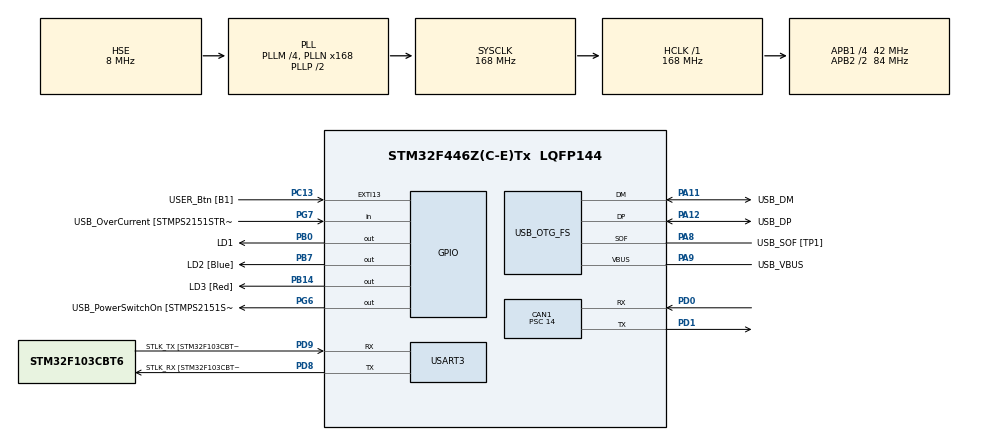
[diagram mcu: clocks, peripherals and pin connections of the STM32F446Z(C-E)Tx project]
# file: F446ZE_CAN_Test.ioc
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CAN1.BS1=CAN_BS1_2TQ
CAN1.BS2=CAN_BS2_3TQ
CAN1.CalculateBaudRate=500000
CAN1.CalculateTimeBit=1999.99
CAN1.CalculateTimeQuantum=333.33333333333337
CAN1.Mode=CAN_MODE_LOOPBACK
CAN1.Prescaler=14
CAN1.SJW=CAN_SJW_2TQ
Mcu.Family=STM32F4
Mcu.Name=STM32F446Z(C-E)Tx
Mcu.Package=LQFP144
NVIC.CAN1_RX0_IRQn=true\:0\:0\:false\:false\:true\:true\:true
NVIC.PriorityGroup=NVIC_PRIORITYGROUP_4
PA10.GPIO_Label=USB_ID
PA10.Signal=USB_OTG_FS_ID
PA11.GPIO_Label=USB_DM
PA11.Mode=Device_Only
PA11.Signal=USB_OTG_FS_DM
PA12.GPIO_Label=USB_DP
PA12.Mode=Device_Only
PA12.Signal=USB_OTG_FS_DP
PA13.GPIO_Label=TMS
PA13.Mode=Trace_Asynchronous_SW
PA13.Signal=SYS_JTMS-SWDIO
PA14.GPIO_Label=TCK
PA14.Mode=Trace_Asynchronous_SW
PA14.Signal=SYS_JTCK-SWCLK
PA8.GPIO_Label=USB_SOF [TP1]
PA8.Mode=Activate_SOF_FS
PA8.Signal=USB_OTG_FS_SOF
PA9.GPIO_Label=USB_VBUS
PA9.Mode=Activate_VBUS
PA9.Signal=USB_OTG_FS_VBUS
PB0.GPIO_Label=LD1
PB0.Signal=GPIO_Output
PB14.GPIO_Label=LD3 [Red]
PB14.Signal=GPIO_Output
PB3.Mode=Trace_Asynchronous_SW
PB3.Signal=SYS_JTDO-SWO
PB7.GPIO_Label=LD2 [Blue]
PB7.Signal=GPIO_Output
PC13.GPIO_Label=USER_Btn [B1]
PC13.Signal=GPXTI13
PC14-OSC32_IN.Mode=LSE-External-Oscillator
PC14-OSC32_IN.Signal=RCC_OSC32_IN
PC15-OSC32_OUT.Mode=LSE-External-Oscillator
PC15-OSC32_OUT.Signal=RCC_OSC32_OUT
PD0.Mode=CAN_Activate
PD0.Signal=CAN1_RX
PD1.Mode=CAN_Activate
PD1.Signal=CAN1_TX
PD8.GPIO_Label=STLK_RX [STM32F103CBT6_PA3]
PD8.Mode=Asynchronous
PD8.Signal=USART3_TX
PD9.GPIO_Label=STLK_TX [STM32F103CBT6_PA2]
PD9.Mode=Asynchronous
PD9.Signal=USART3_RX
PG6.GPIO_Label=USB_PowerSwitchOn [STMPS2151STR_EN]
PG6.Signal=GPIO_Output
PG7.GPIO_Label=USB_OverCurrent [STMPS2151STR_FAULT]
PG7.Signal=GPIO_Input
PH0-OSC_IN.GPIO_Label=MCO [STM32F103CBT6_PA8]
PH0-OSC_IN.Mode=HSE-External-Clock-Source
PH0-OSC_IN.Signal=RCC_OSC_IN
PH1-OSC_OUT.Mode=HSE-External-Clock-Source
PH1-OSC_OUT.Signal=RCC_OSC_OUT
ProjectManager.HeapSize=0x200
ProjectManager.StackSize=0x400
ProjectManager.TargetToolchain=STM32CubeIDE
RCC.48MHZClocksFreq_Value=24000000
RCC.AHBFreq_Value=168000000
RCC.APB1CLKDivider=RCC_HCLK_DIV4
RCC.APB1Freq_Value=42000000
RCC.APB1TimFreq_Value=84000000
RCC.APB2CLKDivider=RCC_HCLK_DIV2
RCC.APB2Freq_Value=84000000
RCC.APB2TimFreq_Value=168000000
RCC.CortexFreq_Value=168000000
RCC.HCLKFreq_Value=168000000
RCC.HSE_VALUE=8000000
RCC.HSI_VALUE=16000000
RCC.PLLM=4
RCC.PLLMUL=RCC_PLL_MUL9
RCC.PLLN=168
RCC.PLLQ=7
RCC.PRESCALERUSB=RCC_USBCLKSOURCE_PLL_DIV1_5
RCC.SYSCLKFreq_VALUE=168000000
RCC.SYSCLKSource=RCC_SYSCLKSOURCE_PLLCLK
RCC.SYSCLKSourceVirtual=RCC_SYSCLKSOURCE_PLLCLK
RCC.USBFreq_Value=48000000
RCC.VCOOutputFreq_Value=336000000
USART3.VirtualMode=VM_ASYNC
USB_OTG_FS.VirtualMode=Device_Only
board=NUCLEO-F446ZE

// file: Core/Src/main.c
/* USER CODE BEGIN Header */

/**
  ******************************************************************************
  * @file           : main.c
  * @brief          : Main program body
  ******************************************************************************
  * @attention
  *
  * <h2><center>&copy; Copyright (c) 2022 STMicroelectronics.
  * All rights reserved.</center></h2>
  *
  * This software component is licensed by ST under BSD 3-Clause license,
  * the "License"; You may not use this file except in compliance with the
  * License. You may obtain a copy of the License at:
  *                        opensource.org/licenses/BSD-3-Clause
  *
  ******************************************************************************
  */
/* USER CODE END Header */
#include "main.h"

/* USER CODE BEGIN Includes */
#include <stdio.h>
/* USER CODE END Includes */

CAN_HandleTypeDef hcan1;

UART_HandleTypeDef huart3;

PCD_HandleTypeDef hpcd_USB_OTG_FS;

/* USER CODE BEGIN PV */

CAN_TxHeaderTypeDef TxHeader; //tx header
CAN_RxHeaderTypeDef RxHeader; //rx header

uint32_t canMailbox; //mailbox holder

uint8_t TxData[8]; // = {0x01, 0x02, 0x03, 0x04, 0x05, 0x06, 0x07, 0x08}; //tx bufer
uint8_t RxData[8]; // = {0,0,0,0,0,0,0,0}; //rx buffer

uint8_t count = 0;

void HAL_CAN_RxFifo0MsgPendingCallback(CAN_HandleTypeDef *hcan)
{
	count++;
//	HAL_CAN_GetRxMessage(hcan, CAN_RX_FIFO0, &RxHeader, RxData);
//	HAL_GPIO_TogglePin(LD1_GPIO_Port, LD1_Pin);
}

/* USER CODE END PV */

void SystemClock_Config(void);
static void MX_GPIO_Init(void);
static void MX_USART3_UART_Init(void);
static void MX_USB_OTG_FS_PCD_Init(void);
static void MX_CAN1_Init(void);
/* USER CODE BEGIN PFP */
void Send_Debug(char *message, size_t len);
/* USER CODE END PFP */

int main(void)
{

  /* MCU Configuration--------------------------------------------------------*/

  /* Reset of all peripherals, Initializes the Flash interface and the Systick. */
  HAL_Init();

  /* Configure the system clock */
  SystemClock_Config();

  /* Initialize all configured peripherals */
  MX_GPIO_Init();
  MX_USART3_UART_Init();
  MX_USB_OTG_FS_PCD_Init();
  MX_CAN1_Init();
  /* USER CODE BEGIN 2 */

  //start can peripheral
  HAL_CAN_Start(&hcan1);

  //inilitlize callback function
  HAL_CAN_ActivateNotification(&hcan1, CAN_IT_RX_FIFO0_MSG_PENDING);

  TxHeader.IDE = CAN_ID_STD; //use standard ID formats
  TxHeader.StdId = 0x103; //ID of the transmitter
  TxHeader.RTR = CAN_RTR_DATA; //data type for transmit frame
  TxHeader.DLC = 1; //message size of two bytes

  TxData[0] = 0xf3;

//  char msgBuf[100];
//  HAL_GPIO_TogglePin(LD1_GPIO_Port, LD1_Pin);
//  sprintf(msgBuf, "CAN1 Attempting to send the following bytes over CAN: %hu, %hu, %hu, %hu, %hu, %hu, %hu, %hu.", TxData[0], TxData[1], TxData[2], TxData[3], TxData[4], TxData[5], TxData[6], TxData[7]);
//  Send_Debug(msgBuf, 85);
//  if (HAL_CAN_AddTxMessage(&hcan1, &TxHeader, TxData, &canMailbox) != HAL_OK)
//  {
//	 Error_Handler ();
//  }
  HAL_CAN_AddTxMessage(&hcan1, &TxHeader, TxData, &canMailbox);

//  sprintf(msgBuf, "CAN1 message sent!");
//  Send_Debug(msgBuf, 18);
  HAL_GPIO_TogglePin(LD1_GPIO_Port, LD1_Pin);
  /* USER CODE END 2 */

  /* Infinite loop */
  /* USER CODE BEGIN WHILE */
  while (1)
  {
	  //state message going to be send
//	  char msgBuf[100];
//	  sprintf(msgBuf, "CAN1 Attempting to send the following bytes over CAN: %hu, %hu, %hu, %hu, %hu, %hu, %hu, %hu.", TxData[0], TxData[1], TxData[2], TxData[3], TxData[4], TxData[5], TxData[6], TxData[7]);
//	  Send_Debug(msgBuf, 85);
//	  //sending can message
//  	  if (HAL_CAN_AddTxMessage(&hcan1, &TxHeader, TxData, &canMailbox) != HAL_OK)
//  	  {
//  	     Error_Handler ();
//  	  }
//  	  sprintf(msgBuf, "CAN1 message sent!");
//  	  Send_Debug(msgBuf, 18);
//  	  HAL_Delay(1000);

//	  char msgBuf[100];
//	  HAL_GPIO_TogglePin(LD1_GPIO_Port, LD1_Pin);
//	  sprintf(msgBuf, "CAN1 Attempting to send the following bytes over CAN: %hu, %hu, %hu, %hu, %hu, %hu, %hu, %hu.", TxData[0], TxData[1], TxData[2], TxData[3], TxData[4], TxData[5], TxData[6], TxData[7]);
//	  Send_Debug(msgBuf, 85);
//	  if (HAL_CAN_AddTxMessage(&hcan1, &TxHeader, TxData, &TxMailbox) != HAL_OK)
//	  {
//	     Error_Handler ();
//	  }
//
//	  sprintf(msgBuf, "CAN1 message sent!");
//	  Send_Debug(msgBuf, 18);
//	  HAL_GPIO_TogglePin(LD1_GPIO_Port, LD1_Pin);

//	  if (HAL_CAN_ActivateNotification(&hcan2, CAN_IT_RX_FIFO0_MSG_PENDING) != HAL_OK)
//	  {
//		  Error_Handler();
//	  }

//	  HAL_Delay(10000);

	  //message sent over can1!

    /* USER CODE END WHILE */

  }
}

void SystemClock_Config(void)
{
  RCC_OscInitTypeDef RCC_OscInitStruct = {0};
  RCC_ClkInitTypeDef RCC_ClkInitStruct = {0};

  /** Configure the main internal regulator output voltage
  */
  __HAL_RCC_PWR_CLK_ENABLE();
  __HAL_PWR_VOLTAGESCALING_CONFIG(PWR_REGULATOR_VOLTAGE_SCALE1);
  /** Initializes the RCC Oscillators according to the specified parameters
  * in the RCC_OscInitTypeDef structure.
  */
  RCC_OscInitStruct.OscillatorType = RCC_OSCILLATORTYPE_HSE;
  RCC_OscInitStruct.HSEState = RCC_HSE_BYPASS;
  RCC_OscInitStruct.PLL.PLLState = RCC_PLL_ON;
  RCC_OscInitStruct.PLL.PLLSource = RCC_PLLSOURCE_HSE;
  RCC_OscInitStruct.PLL.PLLM = 4;
  RCC_OscInitStruct.PLL.PLLN = 168;
  RCC_OscInitStruct.PLL.PLLP = RCC_PLLP_DIV2;
  RCC_OscInitStruct.PLL.PLLQ = 7;
  RCC_OscInitStruct.PLL.PLLR = 2;
  if (HAL_RCC_OscConfig(&RCC_OscInitStruct) != HAL_OK)
  {
    Error_Handler();
  }
  /** Initializes the CPU, AHB and APB buses clocks
  */
  RCC_ClkInitStruct.ClockType = RCC_CLOCKTYPE_HCLK|RCC_CLOCKTYPE_SYSCLK
                              |RCC_CLOCKTYPE_PCLK1|RCC_CLOCKTYPE_PCLK2;
  RCC_ClkInitStruct.SYSCLKSource = RCC_SYSCLKSOURCE_PLLCLK;
  RCC_ClkInitStruct.AHBCLKDivider = RCC_SYSCLK_DIV1;
  RCC_ClkInitStruct.APB1CLKDivider = RCC_HCLK_DIV4;
  RCC_ClkInitStruct.APB2CLKDivider = RCC_HCLK_DIV2;

  if (HAL_RCC_ClockConfig(&RCC_ClkInitStruct, FLASH_LATENCY_5) != HAL_OK)
  {
    Error_Handler();
  }
}

static void MX_CAN1_Init(void)
{

  hcan1.Instance = CAN1;
  hcan1.Init.Prescaler = 14;
  hcan1.Init.Mode = CAN_MODE_LOOPBACK;
  hcan1.Init.SyncJumpWidth = CAN_SJW_2TQ;
  hcan1.Init.TimeSeg1 = CAN_BS1_2TQ;
  hcan1.Init.TimeSeg2 = CAN_BS2_3TQ;
  hcan1.Init.TimeTriggeredMode = DISABLE;
  hcan1.Init.AutoBusOff = DISABLE;
  hcan1.Init.AutoWakeUp = DISABLE;
  hcan1.Init.AutoRetransmission = DISABLE;
  hcan1.Init.ReceiveFifoLocked = DISABLE;
  hcan1.Init.TransmitFifoPriority = DISABLE;
  if (HAL_CAN_Init(&hcan1) != HAL_OK)
  {
    Error_Handler();
  }
  /* USER CODE BEGIN CAN1_Init 2 */
  CAN_FilterTypeDef canFilterConfig;  //can filter config
  canFilterConfig.FilterActivation = CAN_FILTER_ENABLE;
  canFilterConfig.FilterBank = 10;
  canFilterConfig.FilterFIFOAssignment = CAN_FILTER_FIFO0;
  canFilterConfig.FilterIdHigh = 0;
  canFilterConfig.FilterIdLow = 0x00000;
  canFilterConfig.FilterMaskIdHigh = 0;
  canFilterConfig.FilterMaskIdLow = 0x0000;
  canFilterConfig.FilterMode = CAN_FILTERMODE_IDMASK;
  canFilterConfig.FilterScale = CAN_FILTERSCALE_32BIT;
  canFilterConfig.SlaveStartFilterBank = 0;
  //Configuring CAN filter for CAN1
  HAL_CAN_ConfigFilter(&hcan1, &canFilterConfig);

  /* USER CODE END CAN1_Init 2 */

}

static void MX_USART3_UART_Init(void)
{

  huart3.Instance = USART3;
  huart3.Init.BaudRate = 115200;
  huart3.Init.WordLength = UART_WORDLENGTH_8B;
  huart3.Init.StopBits = UART_STOPBITS_1;
  huart3.Init.Parity = UART_PARITY_NONE;
  huart3.Init.Mode = UART_MODE_TX_RX;
  huart3.Init.HwFlowCtl = UART_HWCONTROL_NONE;
  huart3.Init.OverSampling = UART_OVERSAMPLING_16;
  if (HAL_UART_Init(&huart3) != HAL_OK)
  {
    Error_Handler();
  }

}

static void MX_USB_OTG_FS_PCD_Init(void)
{

  hpcd_USB_OTG_FS.Instance = USB_OTG_FS;
  hpcd_USB_OTG_FS.Init.dev_endpoints = 6;
  hpcd_USB_OTG_FS.Init.speed = PCD_SPEED_FULL;
  hpcd_USB_OTG_FS.Init.dma_enable = DISABLE;
  hpcd_USB_OTG_FS.Init.phy_itface = PCD_PHY_EMBEDDED;
  hpcd_USB_OTG_FS.Init.Sof_enable = ENABLE;
  hpcd_USB_OTG_FS.Init.low_power_enable = DISABLE;
  hpcd_USB_OTG_FS.Init.lpm_enable = DISABLE;
  hpcd_USB_OTG_FS.Init.vbus_sensing_enable = ENABLE;
  hpcd_USB_OTG_FS.Init.use_dedicated_ep1 = DISABLE;
  if (HAL_PCD_Init(&hpcd_USB_OTG_FS) != HAL_OK)
  {
    Error_Handler();
  }

}

static void MX_GPIO_Init(void)
{
  GPIO_InitTypeDef GPIO_InitStruct = {0};

  /* GPIO Ports Clock Enable */
  __HAL_RCC_GPIOC_CLK_ENABLE();
  __HAL_RCC_GPIOH_CLK_ENABLE();
  __HAL_RCC_GPIOB_CLK_ENABLE();
  __HAL_RCC_GPIOD_CLK_ENABLE();
  __HAL_RCC_GPIOG_CLK_ENABLE();
  __HAL_RCC_GPIOA_CLK_ENABLE();

  /*Configure GPIO pin Output Level */
  HAL_GPIO_WritePin(GPIOB, LD1_Pin|LD3_Pin|LD2_Pin, GPIO_PIN_RESET);

  /*Configure GPIO pin Output Level */
  HAL_GPIO_WritePin(USB_PowerSwitchOn_GPIO_Port, USB_PowerSwitchOn_Pin, GPIO_PIN_RESET);

  /*Configure GPIO pin : USER_Btn_Pin */
  GPIO_InitStruct.Pin = USER_Btn_Pin;
  GPIO_InitStruct.Mode = GPIO_MODE_IT_RISING;
  GPIO_InitStruct.Pull = GPIO_NOPULL;
  HAL_GPIO_Init(USER_Btn_GPIO_Port, &GPIO_InitStruct);

  /*Configure GPIO pins : LD1_Pin LD3_Pin LD2_Pin */
  GPIO_InitStruct.Pin = LD1_Pin|LD3_Pin|LD2_Pin;
  GPIO_InitStruct.Mode = GPIO_MODE_OUTPUT_PP;
  GPIO_InitStruct.Pull = GPIO_NOPULL;
  GPIO_InitStruct.Speed = GPIO_SPEED_FREQ_LOW;
  HAL_GPIO_Init(GPIOB, &GPIO_InitStruct);

  /*Configure GPIO pin : USB_PowerSwitchOn_Pin */
  GPIO_InitStruct.Pin = USB_PowerSwitchOn_Pin;
  GPIO_InitStruct.Mode = GPIO_MODE_OUTPUT_PP;
  GPIO_InitStruct.Pull = GPIO_NOPULL;
  GPIO_InitStruct.Speed = GPIO_SPEED_FREQ_LOW;
  HAL_GPIO_Init(USB_PowerSwitchOn_GPIO_Port, &GPIO_InitStruct);

  /*Configure GPIO pin : USB_OverCurrent_Pin */
  GPIO_InitStruct.Pin = USB_OverCurrent_Pin;
  GPIO_InitStruct.Mode = GPIO_MODE_INPUT;
  GPIO_InitStruct.Pull = GPIO_NOPULL;
  HAL_GPIO_Init(USB_OverCurrent_GPIO_Port, &GPIO_InitStruct);

}

/* USER CODE BEGIN 4 */
void Send_Debug(char *message, size_t len)
{
	for (int i = 0; i < len; i++)
	{
		ITM_SendChar(message[i]);
	}
	ITM_SendChar('\n');
}

//void HAL_CAN_RxFifo0MsgPendingCallback(CAN_HandleTypeDef *hcan1)
//{
//	HAL_CAN_GetRxMessage(hcan1, CAN_RX_FIFO0, &RxHeader, RxData);
//	HAL_GPIO_TogglePin(LD1_GPIO_Port, LD1_Pin);
//	count++;
//	if (HAL_CAN_GetRxMessage(&hcan1, CAN_RX_FIFO0, &RxHeader, RxData) != HAL_OK)
//	{
//		Error_Handler();
//	}
//
//	char formatted[50];
//	//	HAL_GPIO_TogglePin(LD1_GPIO_Port, LD1_Pin);
//	sprintf(formatted, "Message Received on CAN1!");
//	Send_Debug(formatted, 25);
//	for(int i = 0; i < (sizeof(RxData)/sizeof(RxData[0])); i++) {
//	  sprintf(formatted, "%hu", RxData[i]);
//	  Send_Debug(formatted, 4);
//	}
//	HAL_GPIO_TogglePin(LD1_GPIO_Port, LD1_Pin);

//}

//void HAL_CAN_RxFifo0MsgPendingCallback(CAN_HandleTypeDef *hcan)
//{
//  if (HAL_CAN_GetRxMessage(hcan, CAN_RX_FIFO0, &RxHeader, RxData) != HAL_OK)
//  {
//    Error_Handler();
//  }
//
//  if ((RxHeader.StdId == 0x446))
//  {
//	char formatted[50];
////	HAL_GPIO_TogglePin(LD1_GPIO_Port, LD1_Pin);
//	sprintf(formatted, "Message Received on CAN2!");
//	Send_Debug(formatted, 25);
//	for(int i = 0; i < (sizeof(RxData)/sizeof(RxData[0])); i++) {
//	  sprintf(formatted, "%hu", RxData[i]);
//	  Send_Debug(formatted, 4);
//	}
//	//print out the received message
//  }
//}

/* USER CODE END 4 */

void Error_Handler(void)
{
  __disable_irq();
  while (1)
  {
  }
}

/************************ (C) COPYRIGHT STMicroelectronics *****END OF FILE****/
